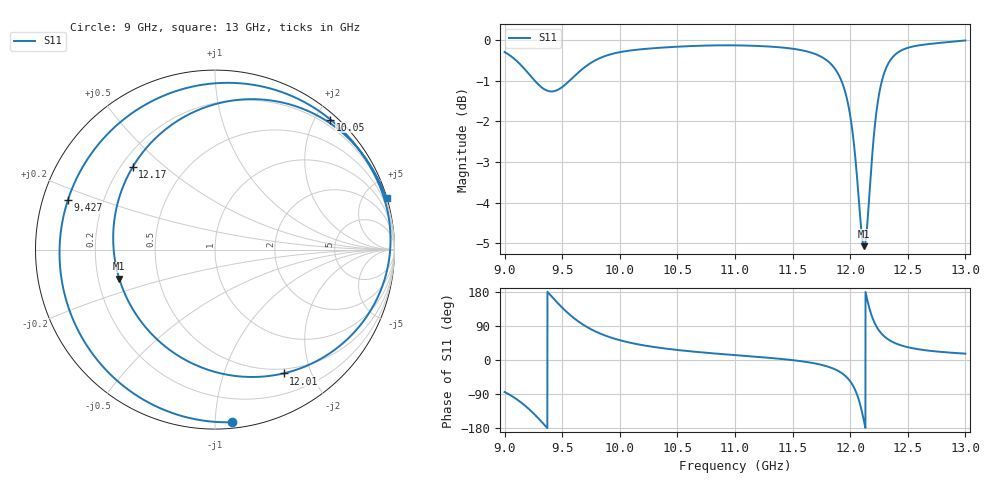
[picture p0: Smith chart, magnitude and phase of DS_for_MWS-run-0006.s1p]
! TOUCHSTONE file generated by CST DESIGN STUDIO
! Date and time: Wed Feb  5 13:19:37 2025
! Project name: C:\Work\MatlabApps\UnitCellOptimizationMatlab\CST\unitcell.cst
! Tree item: Tasks\Sweep1\SPara1\S-Parameters
! Header version: 2024
! Port assignment regex: !\s*Touchstone port\s*([0-9]+)\s*=\s*(CST MWS port|CST DES external port|CST DES block port)\s*(.+)\s* \(\"(.*)\"\)(\s*mode\s*([0-9]+))?.*
! Touchstone port assignment:
! Touchstone port 1 = CST DES external port 1 ("")
# GHz S MA R 50
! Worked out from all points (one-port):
!   4001 points, 9 GHz to 13 GHz, reference 50 ohm
!   lowest |S11| = -5.1 dB at 12.12 GHz (marker M1), VSWR 3.52, Z = 14.5 - j6.81 ohm
!   |S11| at or under -10 dB: nowhere
!   S11 on the Smith chart (normalised r, x): 9 GHz: 0.04, -1.10; 9.427 GHz: 0.07, +0.16; 10.05 GHz: 0.09, +2.22; 12.01 GHz: 0.44, -1.61; 12.17 GHz: 0.25, +0.39; 13 GHz: 0.03, +6.78
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9  0.9664 -84.3
9.11  0.941 -104.6
9.204  0.9106 -127.4
9.323  0.874 -163.7
9.427  0.8649 161.4
9.5  0.8752 138.1
9.589  0.898 113.6
9.687  0.9239 92.2
9.835  0.9511 69.1
10  0.9661 52.3
10.05  0.9689 48.4
10.5  0.9812 26.5
11  0.985 12.9
11.5  0.9756 -0.3
11.847  0.9296 -21.9
11.935  0.8825 -36.4
12  0.8073 -56.2
12.011  0.7884 -61.0
12.07  0.6492 -100.5
12.121  0.5575 -163.1
12.144  0.5835 164.3
12.168  0.6493 135.0
12.195  0.7332 109.9
12.224  0.8079 90.6
12.307  0.9202 59.5
12.387  0.9585 44.9
12.5  0.9781 33.8
13  0.9987 16.8
